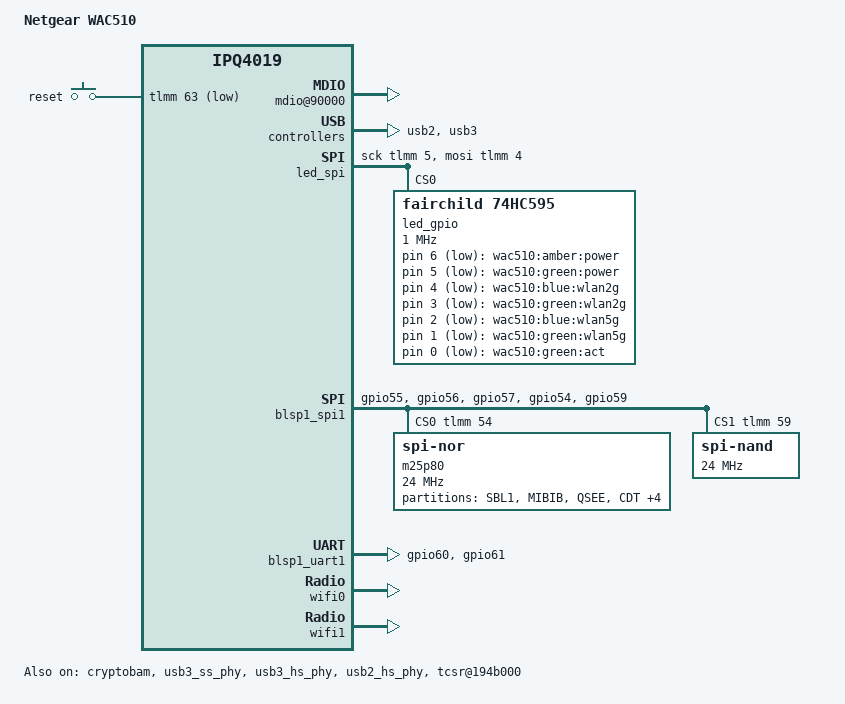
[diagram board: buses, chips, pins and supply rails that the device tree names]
/* Copyright (c) 2015, The Linux Foundation. All rights reserved.
 * Copyright (c) 2019, Robert Marko <robimarko@gmail.com>
 *
 * Permission to use, copy, modify, and/or distribute this software for any
 * purpose with or without fee is hereby granted, provided that the above
 * copyright notice and this permission notice appear in all copies.
 *
 * THE SOFTWARE IS PROVIDED "AS IS" AND THE AUTHOR DISCLAIMS ALL WARRANTIES
 * WITH REGARD TO THIS SOFTWARE INCLUDING ALL IMPLIED WARRANTIES OF
 * MERCHANTABILITY AND FITNESS. IN NO EVENT SHALL THE AUTHOR BE LIABLE FOR
 * ANY SPECIAL, DIRECT, INDIRECT, OR CONSEQUENTIAL DAMAGES OR ANY DAMAGES
 * WHATSOEVER RESULTING FROM LOSS OF USE, DATA OR PROFITS, WHETHER IN AN
 * ACTION OF CONTRACT, NEGLIGENCE OR OTHER TORTIOUS ACTION, ARISING OUT OF
 * OR IN CONNECTION WITH THE USE OR PERFORMANCE OF THIS SOFTWARE.
 *
 */

#include "qcom-ipq4019.dtsi"
#include <dt-bindings/gpio/gpio.h>
#include <dt-bindings/input/input.h>
#include <dt-bindings/soc/qcom,tcsr.h>

/ {
	model = "Netgear WAC510";
	compatible = "netgear,wac510";

	aliases {
		led-boot = &power_amber;
		led-failsafe = &power_amber;
		led-running = &power_green;
		led-upgrade = &power_amber;
	};

	soc {
		rng@22000 {
			status = "okay";
		};

		mdio@90000 {
			status = "okay";
		};

		ess-psgmii@98000 {
			status = "okay";
		};

		counter@4a1000 {
			compatible = "qcom,qca-gcnt";
			reg = <0x4a1000 0x4>;
		};

		tcsr@1949000 {
			compatible = "qcom,tcsr";
			reg = <0x1949000 0x100>;
			qcom,wifi_glb_cfg = <TCSR_WIFI_GLB_CFG>;
		};

		tcsr@194b000 {
			/* select hostmode */
			compatible = "qcom,tcsr";
			reg = <0x194b000 0x100>;
			qcom,usb-hsphy-mode-select = <TCSR_USB_HSPHY_HOST_MODE>;
			status = "okay";
		};

		ess_tcsr@1953000 {
			compatible = "qcom,tcsr";
			reg = <0x1953000 0x1000>;
			qcom,ess-interface-select = <TCSR_ESS_PSGMII>;
		};

		tcsr@1957000 {
			compatible = "qcom,tcsr";
			reg = <0x1957000 0x100>;
			qcom,wifi_noc_memtype_m0_m2 = <TCSR_WIFI_NOC_MEMTYPE_M0_M2>;
		};

		usb2: usb2@60f8800 {
			status = "okay";
		};

		usb3: usb3@8af8800 {
			status = "okay";
		};

		crypto@8e3a000 {
			status = "okay";
		};

		watchdog@b017000 {
			status = "okay";
		};

		ess-switch@c000000 {
			status = "okay";
			switch_lan_bmp = <0x10>; /* lan port bitmap */
		};

		edma@c080000 {
			status = "okay";
		};
	};

	keys {
		compatible = "gpio-keys";

		reset {
			label = "reset";
			gpios = <&tlmm 63 GPIO_ACTIVE_LOW>;
			linux,code = <KEY_RESTART>;
		};
	};

	led_spi {
		compatible = "spi-gpio";
		#address-cells = <1>;
		#size-cells = <0>;

		sck-gpios = <&tlmm 5 GPIO_ACTIVE_HIGH>;
		mosi-gpios = <&tlmm 4 GPIO_ACTIVE_HIGH>;
		num-chipselects = <0>;

		led_gpio: led_gpio@0 {
			compatible = "fairchild,74hc595";
			reg = <0>;
			gpio-controller;
			#gpio-cells = <2>;
			registers-number = <1>;
			spi-max-frequency = <1000000>;
		};
	};

	leds {
		compatible = "gpio-leds";

		power_amber: power_amber {
			label = "wac510:amber:power";
			gpios = <&led_gpio 6 GPIO_ACTIVE_LOW>;
			panic-indicator;
		};

		power_green: power_green {
			label = "wac510:green:power";
			gpios = <&led_gpio 5 GPIO_ACTIVE_LOW>;
		};

		wlan2g_blue {
			label = "wac510:blue:wlan2g";
			gpios = <&led_gpio 4 GPIO_ACTIVE_LOW>;
			linux,default-trigger = "phy0tpt";
		};

		wlan2g_green {
			label = "wac510:green:wlan2g";
			gpios = <&led_gpio 3 GPIO_ACTIVE_LOW>;
			linux,default-trigger = "phy0radio";
		};

		wlan5g_blue {
			label = "wac510:blue:wlan5g";
			gpios = <&led_gpio 2 GPIO_ACTIVE_LOW>;
			linux,default-trigger = "phy1tpt";
		};

		wlan5g_green {
			label = "wac510:green:wlan5g";
			gpios = <&led_gpio 1 GPIO_ACTIVE_LOW>;
			linux,default-trigger = "phy1radio";
		};

		act_green {
			label = "wac510:green:act";
			gpios = <&led_gpio 0 GPIO_ACTIVE_LOW>;
			linux,default-trigger = "heartbeat";
		};
	};
};

&tlmm {
	serial_pins: serial_pinmux {
		mux {
			pins = "gpio60", "gpio61";
			function = "blsp_uart0";
			bias-disable;
		};
	};

	spi_0_pins: spi_0_pinmux {
		pin {
			function = "blsp_spi0";
			pins = "gpio55", "gpio56", "gpio57";
			drive-strength = <2>;
			bias-disable;
		};
		pin_cs {
			function = "gpio";
			pins = "gpio54", "gpio59";
			drive-strength = <2>;
			bias-disable;
			output-high;
		};
	};
};

&blsp_dma {
	status = "okay";
};

&blsp1_spi1 {
	pinctrl-0 = <&spi_0_pins>;
	pinctrl-names = "default";
	cs-gpios = <&tlmm 54 GPIO_ACTIVE_HIGH>, <&tlmm 59 GPIO_ACTIVE_HIGH>;
	status = "okay";

	m25p80@0 {
		reg = <0>;
		compatible = "jedec,spi-nor";
		spi-max-frequency = <24000000>;

		partitions {
			compatible = "fixed-partitions";
			#address-cells = <1>;
			#size-cells = <1>;

			partition0@0 {
				label = "SBL1";
				reg = <0x00000000 0x00040000>;
				read-only;
			};
			partition1@40000 {
				label = "MIBIB";
				reg = <0x00040000 0x00020000>;
				read-only;
			};
			partition2@60000 {
				label = "QSEE";
				reg = <0x00060000 0x00060000>;
				read-only;
			};
			partition3@c0000 {
				label = "CDT";
				reg = <0x000c0000 0x00010000>;
				read-only;
			};
			partition4@d0000 {
				label = "DDRPARAMS";
				reg = <0x000d0000 0x00010000>;
				read-only;
			};
			partition5@e0000 {
				label = "APPSBLENV"; /* uboot env*/
				reg = <0x000e0000 0x00010000>;
				read-only;
			};
			partition5@f0000 {
				label = "APPSBL"; /* uboot */
				reg = <0x000f0000 0x00080000>;
				read-only;
			};
			partition5@170000 {
				label = "ART";
				reg = <0x00170000 0x00010000>;
				read-only;
			};
		};
	};

	spi-nand@1 {
		status = "okay";
		compatible = "spi-nand";
		reg = <1>;
		spi-max-frequency = <24000000>;
	};
};

&blsp1_uart1 {
	pinctrl-0 = <&serial_pins>;
	pinctrl-names = "default";
	status = "okay";
};

&cryptobam {
	status = "okay";
};

&gmac0 {
	qcom,poll_required = <1>;
	qcom,poll_required_dynamic = <1>;
	qcom,phy_mdio_addr = <3>;
	vlan_tag = <1 0x10>;
};

&gmac1 {
	qcom,poll_required = <1>;
	qcom,poll_required_dynamic = <1>;
	qcom,phy_mdio_addr = <4>;
	vlan_tag = <2 0x20>;
};

&wifi0 {
	status = "okay";
	qcom,ath10k-calibration-variant = "Netgear-WAC510";
};

&wifi1 {
	status = "okay";
	qcom,ath10k-calibration-variant = "Netgear-WAC510";
};

&usb3_ss_phy {
	status = "okay";
};

&usb3_hs_phy {
	status = "okay";
};

&usb2_hs_phy {
	status = "okay";
};
